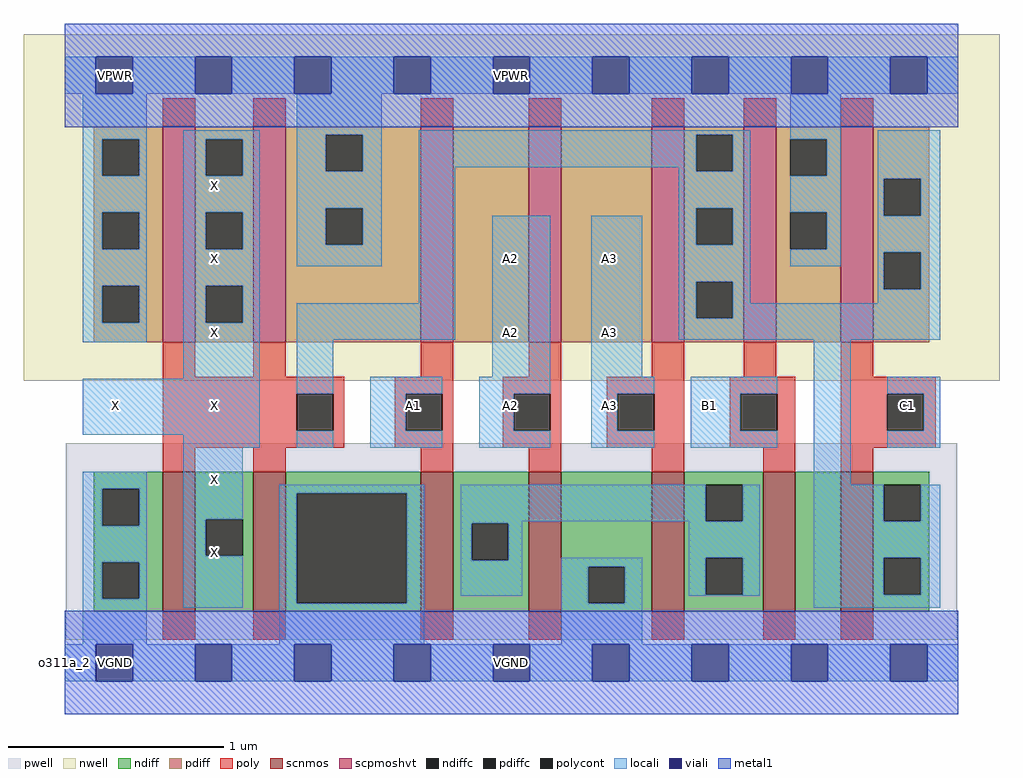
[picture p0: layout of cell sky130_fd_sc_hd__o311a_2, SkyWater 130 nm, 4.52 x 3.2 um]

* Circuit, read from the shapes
.subckt sky130_fd_sc_hd__o311a_2 A1 A2 A3 B1 C1 VGND VNB VPB VPWR X
XM1 X n1 VGND VNB sky130_fd_pr__nfet_01v8 w=0.65 l=0.15 m=2
XM2 n2 A1 VGND VNB sky130_fd_pr__nfet_01v8 w=0.65 l=0.15
XM3 VGND A2 n2 VNB sky130_fd_pr__nfet_01v8 w=0.65 l=0.15
XM4 n2 A3 VGND VNB sky130_fd_pr__nfet_01v8 w=0.65 l=0.15
XM5 n3 B1 n2 VNB sky130_fd_pr__nfet_01v8 w=0.65 l=0.15
XM6 n1 C1 n3 VNB sky130_fd_pr__nfet_01v8 w=0.65 l=0.15
XM7 X n1 VPWR VPB sky130_fd_pr__pfet_01v8_hvt w=1 l=0.15 m=2
XM8 n4 A1 VPWR VPB sky130_fd_pr__pfet_01v8_hvt w=1 l=0.15
XM9 n5 A2 n4 VPB sky130_fd_pr__pfet_01v8_hvt w=1 l=0.15
XM10 n1 A3 n5 VPB sky130_fd_pr__pfet_01v8_hvt w=1 l=0.15
XM11 VPWR B1 n1 VPB sky130_fd_pr__pfet_01v8_hvt w=1 l=0.15
XM12 n1 C1 VPWR VPB sky130_fd_pr__pfet_01v8_hvt w=1 l=0.15
.ends

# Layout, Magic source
magic
tech sky130B
magscale 1 2
<< nwell >>
rect -38 261 866 582
<< pwell >>
rect 1 21 827 203
rect 30 -17 64 21
<< scnmos >>
rect 91 47 121 177
rect 175 47 205 177
rect 330 47 360 177
rect 430 47 460 177
rect 544 47 574 177
rect 647 47 677 177
rect 719 47 749 177
<< scpmoshvt >>
rect 91 297 121 497
rect 175 297 205 497
rect 330 297 360 497
rect 430 297 460 497
rect 544 297 574 497
rect 629 297 659 497
rect 719 297 749 497
<< ndiff >>
rect 27 161 91 177
rect 27 127 35 161
rect 69 127 91 161
rect 27 93 91 127
rect 27 59 35 93
rect 69 59 91 93
rect 27 47 91 59
rect 121 133 175 177
rect 121 99 131 133
rect 165 99 175 133
rect 121 47 175 99
rect 205 157 330 177
rect 205 55 215 157
rect 317 55 330 157
rect 205 47 330 55
rect 360 129 430 177
rect 360 95 377 129
rect 411 95 430 129
rect 360 47 430 95
rect 460 89 544 177
rect 460 55 485 89
rect 519 55 544 89
rect 460 47 544 55
rect 574 165 647 177
rect 574 131 594 165
rect 628 131 647 165
rect 574 97 647 131
rect 574 63 594 97
rect 628 63 647 97
rect 574 47 647 63
rect 677 47 719 177
rect 749 165 801 177
rect 749 131 759 165
rect 793 131 801 165
rect 749 97 801 131
rect 749 63 759 97
rect 793 63 801 97
rect 749 47 801 63
<< pdiff >>
rect 27 485 91 497
rect 27 451 35 485
rect 69 451 91 485
rect 27 417 91 451
rect 27 383 35 417
rect 69 383 91 417
rect 27 349 91 383
rect 27 315 35 349
rect 69 315 91 349
rect 27 297 91 315
rect 121 485 175 497
rect 121 451 131 485
rect 165 451 175 485
rect 121 417 175 451
rect 121 383 131 417
rect 165 383 175 417
rect 121 349 175 383
rect 121 315 131 349
rect 165 315 175 349
rect 121 297 175 315
rect 205 489 330 497
rect 205 455 242 489
rect 276 455 330 489
rect 205 421 330 455
rect 205 387 242 421
rect 276 387 330 421
rect 205 297 330 387
rect 360 297 430 497
rect 460 297 544 497
rect 574 489 629 497
rect 574 455 585 489
rect 619 455 629 489
rect 574 421 629 455
rect 574 387 585 421
rect 619 387 629 421
rect 574 353 629 387
rect 574 319 585 353
rect 619 319 629 353
rect 574 297 629 319
rect 659 485 719 497
rect 659 451 672 485
rect 706 451 719 485
rect 659 417 719 451
rect 659 383 672 417
rect 706 383 719 417
rect 659 297 719 383
rect 749 448 801 497
rect 749 414 759 448
rect 793 414 801 448
rect 749 380 801 414
rect 749 346 759 380
rect 793 346 801 380
rect 749 297 801 346
<< ndiffc >>
rect 35 127 69 161
rect 35 59 69 93
rect 131 99 165 133
rect 215 55 317 157
rect 377 95 411 129
rect 485 55 519 89
rect 594 131 628 165
rect 594 63 628 97
rect 759 131 793 165
rect 759 63 793 97
<< pdiffc >>
rect 35 451 69 485
rect 35 383 69 417
rect 35 315 69 349
rect 131 451 165 485
rect 131 383 165 417
rect 131 315 165 349
rect 242 455 276 489
rect 242 387 276 421
rect 585 455 619 489
rect 585 387 619 421
rect 585 319 619 353
rect 672 451 706 485
rect 672 383 706 417
rect 759 414 793 448
rect 759 346 793 380
<< poly >>
rect 91 497 121 523
rect 175 497 205 523
rect 330 497 360 523
rect 430 497 460 523
rect 544 497 574 523
rect 629 497 659 523
rect 719 497 749 523
rect 91 265 121 297
rect 175 265 205 297
rect 330 265 360 297
rect 430 265 460 297
rect 544 265 574 297
rect 629 265 659 297
rect 719 265 749 297
rect 91 249 259 265
rect 91 215 215 249
rect 249 215 259 249
rect 91 199 259 215
rect 306 249 360 265
rect 306 215 316 249
rect 350 215 360 249
rect 306 199 360 215
rect 406 249 460 265
rect 406 215 416 249
rect 450 215 460 249
rect 406 199 460 215
rect 502 249 574 265
rect 502 215 512 249
rect 546 215 574 249
rect 502 199 574 215
rect 616 249 677 265
rect 616 215 626 249
rect 660 215 677 249
rect 616 199 677 215
rect 91 177 121 199
rect 175 177 205 199
rect 330 177 360 199
rect 430 177 460 199
rect 544 177 574 199
rect 647 177 677 199
rect 719 249 807 265
rect 719 215 762 249
rect 796 215 807 249
rect 719 199 807 215
rect 719 177 749 199
rect 91 21 121 47
rect 175 21 205 47
rect 330 21 360 47
rect 430 21 460 47
rect 544 21 574 47
rect 647 21 677 47
rect 719 21 749 47
<< polycont >>
rect 215 215 249 249
rect 316 215 350 249
rect 416 215 450 249
rect 512 215 546 249
rect 626 215 660 249
rect 762 215 796 249
<< locali >>
rect 0 527 29 561
rect 63 527 121 561
rect 155 527 213 561
rect 247 527 305 561
rect 339 527 397 561
rect 431 527 489 561
rect 523 527 581 561
rect 615 527 673 561
rect 707 527 765 561
rect 799 527 828 561
rect 17 485 76 527
rect 17 451 35 485
rect 69 451 76 485
rect 17 417 76 451
rect 17 383 35 417
rect 69 383 76 417
rect 17 349 76 383
rect 17 315 35 349
rect 69 315 76 349
rect 17 297 76 315
rect 110 485 181 493
rect 110 451 131 485
rect 165 451 181 485
rect 110 417 181 451
rect 110 383 131 417
rect 165 383 181 417
rect 110 349 181 383
rect 215 489 294 527
rect 215 455 242 489
rect 276 455 294 489
rect 215 421 294 455
rect 215 387 242 421
rect 276 387 294 421
rect 215 367 294 387
rect 328 489 635 493
rect 328 459 585 489
rect 110 315 131 349
rect 165 315 181 349
rect 328 333 362 459
rect 569 455 585 459
rect 619 455 635 489
rect 569 421 635 455
rect 110 263 181 315
rect 17 211 181 263
rect 110 199 181 211
rect 215 299 362 333
rect 215 249 249 299
rect 396 265 450 414
rect 215 199 249 215
rect 283 249 350 265
rect 283 215 316 249
rect 283 199 350 215
rect 384 249 450 265
rect 384 215 416 249
rect 384 199 450 215
rect 488 265 535 414
rect 569 387 585 421
rect 619 387 635 421
rect 569 353 635 387
rect 672 485 719 527
rect 706 451 719 485
rect 672 417 719 451
rect 706 383 719 417
rect 672 367 719 383
rect 753 448 811 493
rect 753 414 759 448
rect 793 414 811 448
rect 753 380 811 414
rect 569 319 585 353
rect 619 333 635 353
rect 753 346 759 380
rect 793 346 811 380
rect 753 333 811 346
rect 619 319 811 333
rect 569 299 811 319
rect 488 249 546 265
rect 488 215 512 249
rect 488 199 546 215
rect 580 249 660 265
rect 580 215 626 249
rect 580 199 660 215
rect 17 161 76 177
rect 17 127 35 161
rect 69 127 76 161
rect 17 93 76 127
rect 17 59 35 93
rect 69 59 76 93
rect 17 17 76 59
rect 110 133 165 199
rect 694 165 728 299
rect 762 249 811 265
rect 796 215 811 249
rect 762 199 811 215
rect 110 99 131 133
rect 110 51 165 99
rect 199 157 333 165
rect 199 55 215 157
rect 317 55 333 157
rect 367 131 594 165
rect 628 131 644 165
rect 367 129 424 131
rect 367 95 377 129
rect 411 95 424 129
rect 578 97 644 131
rect 367 62 424 95
rect 460 89 535 97
rect 199 17 333 55
rect 460 55 485 89
rect 519 55 535 89
rect 578 63 594 97
rect 628 63 644 97
rect 578 62 644 63
rect 694 131 759 165
rect 793 131 811 165
rect 694 97 811 131
rect 694 63 759 97
rect 793 63 811 97
rect 460 17 535 55
rect 694 51 811 63
rect 0 -17 29 17
rect 63 -17 121 17
rect 155 -17 213 17
rect 247 -17 305 17
rect 339 -17 397 17
rect 431 -17 489 17
rect 523 -17 581 17
rect 615 -17 673 17
rect 707 -17 765 17
rect 799 -17 828 17
<< viali >>
rect 29 527 63 561
rect 121 527 155 561
rect 213 527 247 561
rect 305 527 339 561
rect 397 527 431 561
rect 489 527 523 561
rect 581 527 615 561
rect 673 527 707 561
rect 765 527 799 561
rect 29 -17 63 17
rect 121 -17 155 17
rect 213 -17 247 17
rect 305 -17 339 17
rect 397 -17 431 17
rect 489 -17 523 17
rect 581 -17 615 17
rect 673 -17 707 17
rect 765 -17 799 17
<< metal1 >>
rect 0 561 828 592
rect 0 527 29 561
rect 63 527 121 561
rect 155 527 213 561
rect 247 527 305 561
rect 339 527 397 561
rect 431 527 489 561
rect 523 527 581 561
rect 615 527 673 561
rect 707 527 765 561
rect 799 527 828 561
rect 0 496 828 527
rect 0 17 828 48
rect 0 -17 29 17
rect 63 -17 121 17
rect 155 -17 213 17
rect 247 -17 305 17
rect 339 -17 397 17
rect 431 -17 489 17
rect 523 -17 581 17
rect 615 -17 673 17
rect 707 -17 765 17
rect 799 -17 828 17
rect 0 -48 828 -17
<< labels >>
flabel locali s 122 357 156 391 0 FreeSans 200 0 0 0 X
port 10 nsew signal output
flabel locali s 122 425 156 459 0 FreeSans 200 0 0 0 X
port 10 nsew signal output
flabel locali s 122 153 156 187 0 FreeSans 200 0 0 0 X
port 10 nsew signal output
flabel locali s 122 85 156 119 0 FreeSans 200 0 0 0 X
port 10 nsew signal output
flabel locali s 396 289 430 323 0 FreeSans 200 0 0 0 A2
port 2 nsew signal input
flabel locali s 488 289 522 323 0 FreeSans 200 0 0 0 A3
port 3 nsew signal input
flabel locali s 488 357 522 391 0 FreeSans 200 0 0 0 A3
port 3 nsew signal input
flabel locali s 396 357 430 391 0 FreeSans 200 0 0 0 A2
port 2 nsew signal input
flabel locali s 122 221 156 255 0 FreeSans 200 0 0 0 X
port 10 nsew signal output
flabel locali s 306 221 340 255 0 FreeSans 200 0 0 0 A1
port 1 nsew signal input
flabel locali s 396 221 430 255 0 FreeSans 200 0 0 0 A2
port 2 nsew signal input
flabel locali s 488 221 522 255 0 FreeSans 200 0 0 0 A3
port 3 nsew signal input
flabel locali s 580 221 614 255 0 FreeSans 200 0 0 0 B1
port 4 nsew signal input
flabel locali s 764 221 798 255 0 FreeSans 200 0 0 0 C1
port 5 nsew signal input
flabel locali s 122 289 156 323 0 FreeSans 200 0 0 0 X
port 10 nsew signal output
flabel locali s 30 221 64 255 0 FreeSans 200 0 0 0 X
port 10 nsew signal output
flabel metal1 s 30 527 64 561 0 FreeSans 200 0 0 0 VPWR
port 9 nsew power bidirectional abutment
flabel metal1 s 30 -17 64 17 0 FreeSans 200 0 0 0 VGND
port 6 nsew ground bidirectional abutment
flabel nwell s 30 527 64 561 0 FreeSans 200 0 0 0 VPB
port 8 nsew power bidirectional
flabel pwell s 30 -17 64 17 0 FreeSans 200 0 0 0 VNB
port 7 nsew ground bidirectional
rlabel comment s 0 0 0 0 4 o311a_2
rlabel metal1 s 0 -48 828 48 1 VGND
port 6 nsew ground bidirectional abutment
rlabel metal1 s 0 496 828 592 1 VPWR
port 9 nsew power bidirectional abutment
<< properties >>
string FIXED_BBOX 0 0 828 544
string GDS_END 937332
string GDS_FILE $PDKPATH/libs.ref/sky130_fd_sc_hd/gds/sky130_fd_sc_hd.gds
string GDS_START 928982
string LEFclass CORE
string LEFsite unithd
string LEFsymmetry X Y R90
string path 0.000 2.720 4.140 2.720 
<< end >>
